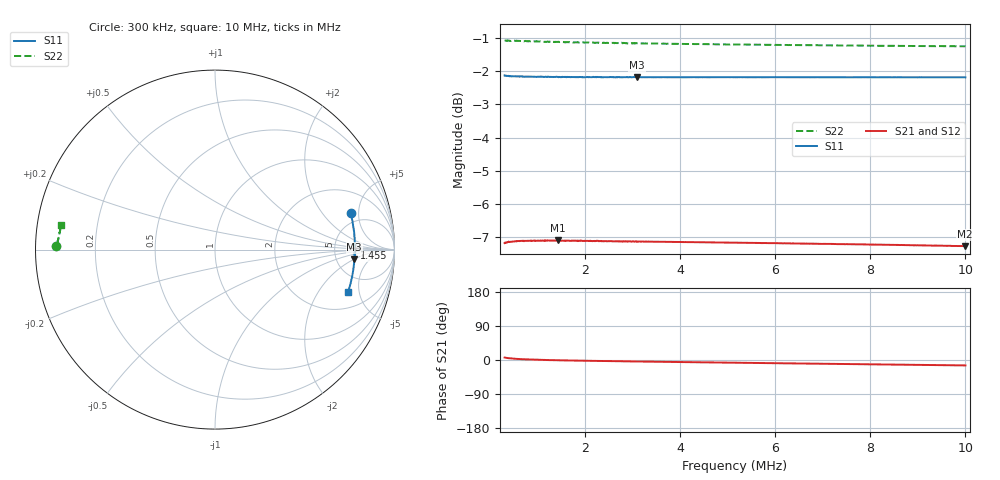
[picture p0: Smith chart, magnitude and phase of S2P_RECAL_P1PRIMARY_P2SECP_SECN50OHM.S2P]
!Keysight Technologies,E5061B,MY49709559,B.05.06
!Date: Fri Apr 08 00:57:31 2022
!Data & Calibration Information:
!Freq	S11:SOLT2(ON)	S21:SOLT2(ON)	S12:SOLT2(ON)	S22:SOLT2(ON)
# Hz S RI R 50
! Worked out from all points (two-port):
!   1000 points, 300 kHz to 10 MHz, reference 50 ohm
!   highest |S21| = -7.11 dB at 1.417 MHz (marker M1); lowest = -7.3 dB at 9.99 MHz (marker M2)
!   |S21| within 3 dB of the highest: start of sweep to end of sweep
!   lowest |S11| = -2.2 dB at 3.087 MHz (marker M3), VSWR 8.00, Z = 372 - j102 ohm
!   |S11| at or under -10 dB: nowhere
!   |S22| runs from -1.2 to -1.1 dB; largest |S21 - S12| = 0.002
!   S11 on the Smith chart (normalised r, x): 300 kHz: 3.82, +4.04; 1.455 MHz: 8.04, +0.32; 10 MHz: 3.26, -3.86
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300000  0.7563 0.2042  0.4341 0.0492  0.433 0.0495  -0.8839 0.02
329129.1  0.76 0.1845  0.4351 0.0439  0.4352 0.044  -0.8842 0.0206
377677.7  0.7658 0.1593  0.4369 0.0372  0.4369 0.0375  -0.8847 0.0188
406806.8  0.7678 0.1469  0.437 0.0348  0.438 0.0344  -0.8836 0.0183
474774.8  0.7711 0.1233  0.4382 0.0283  0.4392 0.028  -0.8845 0.0188
562162.2  0.7745 0.1001  0.4393 0.0221  0.44 0.0218  -0.8836 0.0183
678678.7  0.7769 0.0775  0.4401 0.0154  0.4402 0.015  -0.8834 0.0203
834034  0.7782 0.0562  0.44 0.00922  0.4405 0.00882  -0.8821 0.0209
999099.1  0.7789 0.0396  0.4405 0.00395  0.4414 0.00402  -0.8822 0.0226
1183584  0.7792 0.0247  0.4406 -0.000589  0.4403 -0.00076  -0.8801 0.0251
1416617  0.7795 0.0102  0.441 -0.00519  0.44 -0.00624  -0.8798 0.0288
1455455  0.7789 0.00771  0.4403 -0.00612  0.4402 -0.00676  -0.8794 0.0292
1630230  0.7789 -0.00104  0.4403 -0.00931  0.44 -0.00997  -0.8798 0.0317
1921522  0.7789 -0.014  0.44 -0.0138  0.4392 -0.015  -0.8783 0.0354
2271071  0.7783 -0.0279  0.4397 -0.0188  0.4388 -0.02  -0.8765 0.04
3086687  0.776 -0.0544  0.4375 -0.0296  0.4376 -0.0306  -0.8749 0.0505
3543043  0.7755 -0.0682  0.4374 -0.0356  0.4366 -0.0363  -0.8735 0.0566
5154855  0.7702 -0.1129  0.4339 -0.0546  0.433 -0.0548  -0.8691 0.0773
6766667  0.763 -0.1542  0.4297 -0.0725  0.4288 -0.0726  -0.8649 0.0978
8388188  0.7539 -0.1944  0.4247 -0.0899  0.4237 -0.0895  -0.8606 0.1179
9990290  0.7423 -0.2331  0.4187 -0.1067  0.4179 -0.1061  -0.8563 0.1381
1e7  0.7425 -0.2335  0.4187 -0.1068  0.4178 -0.106  -0.8561 0.138
